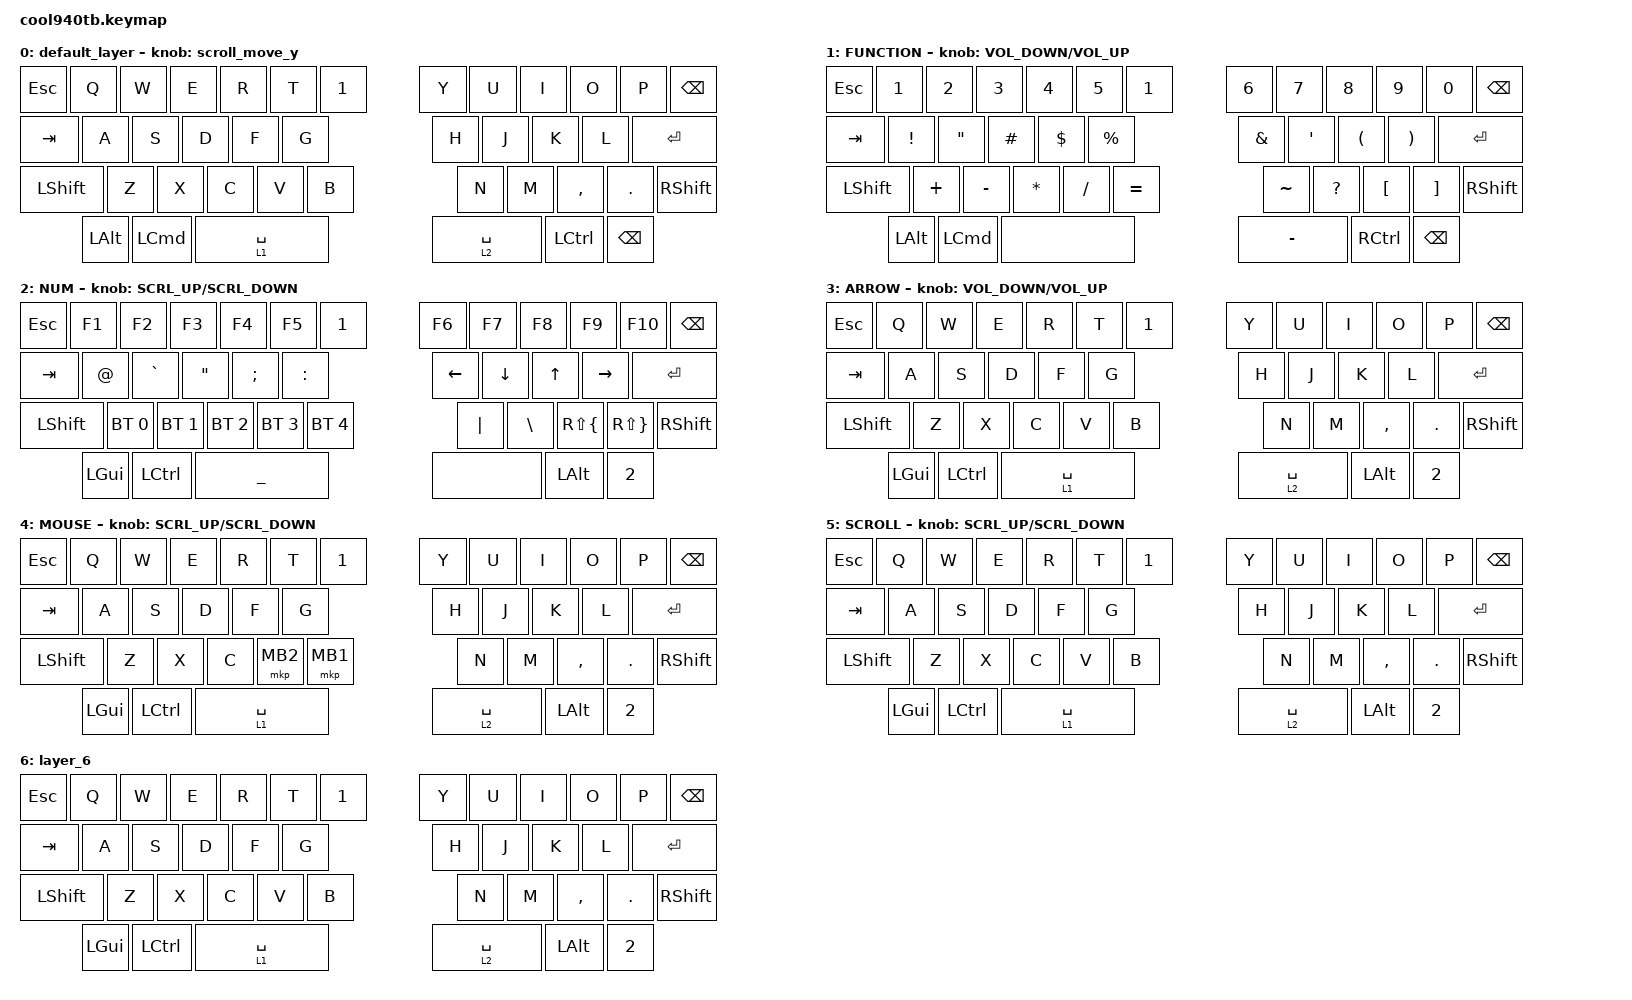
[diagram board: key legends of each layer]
#include <behaviors.dtsi>
#include <dt-bindings/zmk/bt.h>
#include <dt-bindings/zmk/keys.h>
#include <dt-bindings/zmk/pointing.h>

#define MOUSE 4
#define SCROLL 5
#define NUM 6

&mt {
    flavor = "balanced";
    quick-tap-ms = <0>;
};

/ {
    combos {
        compatible = "zmk,combos";

        clear_ble_setting {
            bindings = <&bt BT_CLR_ALL>;
            key-positions = <11 12>;
            layers = <1>;
        };

        shift_tab {
            bindings = <&kp LS(TAB)>;
            key-positions = <13 14>;
        };

        BT1 {
            bindings = <&mkp MB1>;
            key-positions = <29 28>;
        };

        BT2 {
            bindings = <&mkp MB2>;
            key-positions = <28 27>;
        };

        capslock {
            bindings = <&kp CLCK>;
            key-positions = <24 25>;
        };
    };

    macros {
        to_layer_0: to_layer_0 {
            compatible = "zmk,behavior-macro-one-param";
            #binding-cells = <1>;
            bindings = <&to 0 &macro_param_1to1 &kp MACRO_PLACEHOLDER>;
            label = "TO_LAYER_0";
        };
    };

    behaviors {
        lt_to_layer_0: lt_to_layer_0 {
            compatible = "zmk,behavior-hold-tap";
            label = "LAYER_TAP_TO_0";
            bindings = <&mo>, <&to_layer_0>;

            #binding-cells = <2>;
            tapping-term-ms = <200>;
        };

        scroll_up_down: behavior_sensor_rotate_mouse_wheel_up_down {
            compatible = "zmk,behavior-sensor-rotate";
            #sensor-binding-cells = <0>;
            bindings = <&msc SCRL_UP>, <&msc SCRL_DOWN>;

            tap-ms = <20>;
        };

        // エンコーダー：キー

        rot_kp: sensor_rotate_kp {
            compatible = "zmk,behavior-sensor-rotate-var";
            #sensor-binding-cells = <2>;
            bindings = <&kp>, <&kp>;
        };

        // エンコーダー：マウススクロール 

        rot_msc: sensor_rotate_msc {
            compatible = "zmk,behavior-sensor-rotate-var";
            #sensor-binding-cells = <2>;
            tap-ms = <20>;
            bindings = <&msc>, <&msc>;
        };

        // エンコーダー：マウススクロール(MOVE_Y)

        scroll_move_y: sensor_rotate_msc_for_move_y {
            compatible = "zmk,behavior-sensor-rotate";
            #sensor-binding-cells = <0>;
            bindings = <&msc MOVE_Y(20)>, <&msc MOVE_Y(-20)>;

            // tap-ms下限メモ Yの値で可変: Y(15) <81>, Y(20) <65>, Y(25) <49>

            tap-ms = <65>;
        };

        // エンコーダー：マウススクロール(MOVE_X)

        scroll_move_x: sensor_rotate_msc_for_move_x {
            compatible = "zmk,behavior-sensor-rotate";
            #sensor-binding-cells = <0>;
            bindings = <&msc MOVE_X(20)>, <&msc MOVE_X(-20)>;

            // tap-ms下限メモ Xの値で可変: X(15) <81>, X(20) <65>, X(25) <49>

            tap-ms = <65>;
        };
    };

    keymap {
        compatible = "zmk,keymap";

        default_layer {
            bindings = <
&kp ESC     &kp Q  &kp W         &kp E             &kp R        &kp T        &kp N1            &kp Y          &kp U      &kp I       &kp O       &kp P  &kp BSPC
&kp TAB     &kp A  &kp S         &kp D             &kp F        &kp G        &kp H             &kp J          &kp K      &kp L       &kp ENTER
&kp LSHIFT  &kp Z  &kp X         &kp C             &kp V        &kp B        &kp N             &kp M          &kp COMMA  &kp PERIOD  &kp RSHIFT
                   &kp LEFT_ALT  &kp LEFT_COMMAND  &lt 1 SPACE  &lt 2 SPACE  &kp LEFT_CONTROL  &kp BACKSPACE
            >;

            sensor-bindings = <&scroll_move_y>;

        };

        FUNCTION {
            bindings = <
&kp ESC     &kp NUMBER_1     &kp NUMBER_2       &kp NUMBER_3      &kp NUMBER_4  &kp N5       &kp N1             &kp NUMBER_6   &kp N7                &kp N8                 &kp N9      &kp N0  &kp BSPC
&kp TAB     &kp EXCLAMATION  &kp DOUBLE_QUOTES  &kp HASH          &kp DOLLAR    &kp PERCENT  &kp AMPERSAND      &kp SQT        &kp LEFT_PARENTHESIS  &kp RIGHT_PARENTHESIS  &kp ENTER
&kp LSHIFT  &kp PLUS         &kp MINUS          &kp ASTERISK      &kp SLASH     &kp EQUAL    &kp TILDE          &kp QUESTION   &kp LEFT_BRACKET      &kp RIGHT_BRACKET      &kp RSHIFT
                             &kp LEFT_ALT       &kp LEFT_COMMAND  &none         &kp MINUS    &kp RIGHT_CONTROL  &kp BACKSPACE
            >;

            sensor-bindings = <&inc_dec_kp C_VOLUME_DOWN C_VOLUME_UP>;

        };

        NUM {
            bindings = <
&kp ESC     &kp F1        &kp F2        &kp F3             &kp F4          &kp F5        &kp N1          &kp F6          &kp F7              &kp F8               &kp F9      &kp F10  &kp BSPC
&kp TAB     &kp AT_SIGN   &kp GRAVE     &kp DOUBLE_QUOTES  &kp SEMICOLON   &kp COLON     &kp LEFT_ARROW  &kp DOWN_ARROW  &kp UP_ARROW        &kp RIGHT_ARROW      &kp ENTER
&kp LSHIFT  &bt BT_SEL 0  &bt BT_SEL 1  &bt BT_SEL 2       &bt BT_SEL 3    &bt BT_SEL 4  &kp PIPE        &kp BACKSLASH   &kp RS(LEFT_BRACE)  &kp RS(RIGHT_BRACE)  &kp RSHIFT
                          &kp LGUI      &kp LCTRL          &kp UNDERSCORE  &none         &kp LALT        &kp N2
            >;
 
            sensor-bindings = <&rot_msc SCRL_UP SCRL_DOWN>;
           
        };

        ARROW {
            bindings = <
&kp ESC     &kp Q  &kp W     &kp E      &kp R        &kp T        &kp N1    &kp Y   &kp U      &kp I       &kp O       &kp P  &kp BSPC
&kp TAB     &kp A  &kp S     &kp D      &kp F        &kp G        &kp H     &kp J   &kp K      &kp L       &kp ENTER
&kp LSHIFT  &kp Z  &kp X     &kp C      &kp V        &kp B        &kp N     &kp M   &kp COMMA  &kp PERIOD  &kp RSHIFT
                   &kp LGUI  &kp LCTRL  &lt 1 SPACE  &lt 2 SPACE  &kp LALT  &kp N2
            >;

            sensor-bindings = <&inc_dec_kp C_VOLUME_DOWN C_VOLUME_UP>;

        };

        MOUSE {
            bindings = <
&kp ESC     &kp Q  &kp W     &kp E      &kp R        &kp T        &kp N1    &kp Y   &kp U      &kp I       &kp O       &kp P  &kp BSPC
&kp TAB     &kp A  &kp S     &kp D      &kp F        &kp G        &kp H     &kp J   &kp K      &kp L       &kp ENTER
&kp LSHIFT  &kp Z  &kp X     &kp C      &mkp MB2     &mkp MB1     &kp N     &kp M   &kp COMMA  &kp PERIOD  &kp RSHIFT
                   &kp LGUI  &kp LCTRL  &lt 1 SPACE  &lt 2 SPACE  &kp LALT  &kp N2
            >;

            sensor-bindings = <&rot_msc SCRL_UP SCRL_DOWN>;

        };

        SCROLL {
            bindings = <
&kp ESC     &kp Q  &kp W     &kp E      &kp R        &kp T        &kp N1    &kp Y   &kp U      &kp I       &kp O       &kp P  &kp BSPC
&kp TAB     &kp A  &kp S     &kp D      &kp F        &kp G        &kp H     &kp J   &kp K      &kp L       &kp ENTER
&kp LSHIFT  &kp Z  &kp X     &kp C      &kp V        &kp B        &kp N     &kp M   &kp COMMA  &kp PERIOD  &kp RSHIFT
                   &kp LGUI  &kp LCTRL  &lt 1 SPACE  &lt 2 SPACE  &kp LALT  &kp N2
            >;

            sensor-bindings = <&rot_msc SCRL_UP SCRL_DOWN>;

        };

        layer_6 {
            bindings = <
&kp ESC     &kp Q  &kp W     &kp E      &kp R        &kp T        &kp N1    &kp Y   &kp U      &kp I       &kp O       &kp P  &kp BSPC
&kp TAB     &kp A  &kp S     &kp D      &kp F        &kp G        &kp H     &kp J   &kp K      &kp L       &kp ENTER
&kp LSHIFT  &kp Z  &kp X     &kp C      &kp V        &kp B        &kp N     &kp M   &kp COMMA  &kp PERIOD  &kp RSHIFT
                   &kp LGUI  &kp LCTRL  &lt 1 SPACE  &lt 2 SPACE  &kp LALT  &kp N2
            >;            
        };
    };
};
